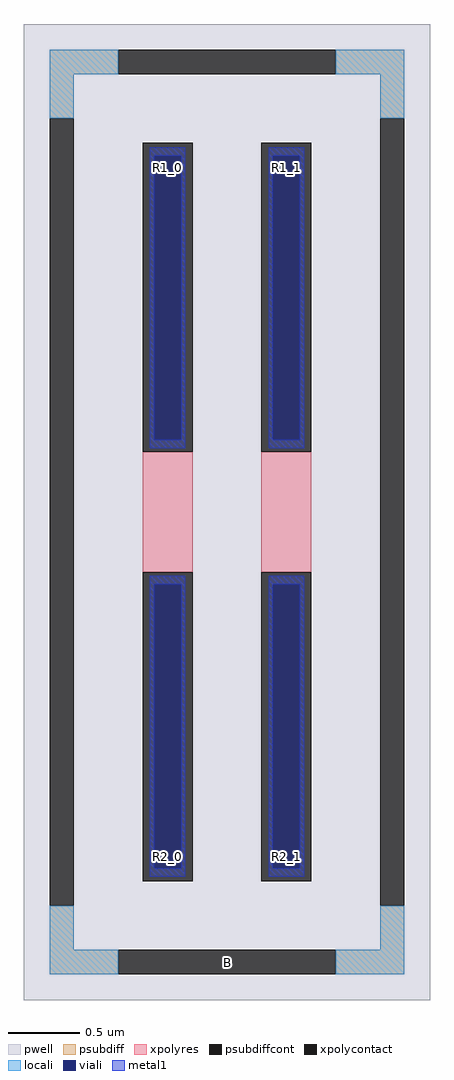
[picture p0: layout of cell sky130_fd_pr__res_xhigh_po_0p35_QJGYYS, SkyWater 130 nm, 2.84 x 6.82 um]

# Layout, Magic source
magic
tech sky130A
magscale 1 2
<< pwell >>
rect -284 -682 284 682
<< psubdiff >>
rect -248 612 -152 646
rect 152 612 248 646
rect -248 550 -214 612
rect 214 550 248 612
rect -248 -612 -214 -550
rect 214 -612 248 -550
rect -248 -646 -152 -612
rect 152 -646 248 -612
<< psubdiffcont >>
rect -152 612 152 646
rect -248 -550 -214 550
rect 214 -550 248 550
rect -152 -646 152 -612
<< xpolycontact >>
rect -118 84 -48 516
rect -118 -516 -48 -84
rect 48 84 118 516
rect 48 -516 118 -84
<< xpolyres >>
rect -118 -84 -48 84
rect 48 -84 118 84
<< locali >>
rect -248 612 -152 646
rect 152 612 248 646
rect -248 550 -214 612
rect 214 550 248 612
rect -248 -612 -214 -550
rect 214 -612 248 -550
rect -248 -646 -152 -612
rect 152 -646 248 -612
<< viali >>
rect -102 101 -64 498
rect 64 101 102 498
rect -102 -498 -64 -101
rect 64 -498 102 -101
<< metal1 >>
rect -108 498 -58 510
rect -108 101 -102 498
rect -64 101 -58 498
rect -108 89 -58 101
rect 58 498 108 510
rect 58 101 64 498
rect 102 101 108 498
rect 58 89 108 101
rect -108 -101 -58 -89
rect -108 -498 -102 -101
rect -64 -498 -58 -101
rect -108 -510 -58 -498
rect 58 -101 108 -89
rect 58 -498 64 -101
rect 102 -498 108 -101
rect 58 -510 108 -498
<< labels >>
rlabel psubdiffcont 0 -629 0 -629 0 B
port 16 nsew
rlabel xpolycontact -83 481 -83 481 0 R1_0
port 17 nsew
rlabel xpolycontact -83 -481 -83 -481 0 R2_0
port 18 nsew
rlabel xpolycontact 83 481 83 481 0 R1_1
port 19 nsew
rlabel xpolycontact 83 -481 83 -481 0 R2_1
port 20 nsew
<< properties >>
string FIXED_BBOX -231 -629 231 629
string gencell sky130_fd_pr__res_xhigh_po_0p35
string library sky130
string parameters w 0.35 l 1.0 m 1 nx 2 wmin 0.350 lmin 0.50 class resistor rho 2000 val 6.789k dummy 0 dw 0.0 term 188.2 sterm 0.0 caplen 0 wmax 0.350 guard 1 glc 1 grc 1 gtc 1 gbc 1 compatible {sky130_fd_pr__res_xhigh_po_0p35  sky130_fd_pr__res_xhigh_po_0p69 sky130_fd_pr__res_xhigh_po_1p41  sky130_fd_pr__res_xhigh_po_2p85 sky130_fd_pr__res_xhigh_po_5p73} snake 0 full_metal 1 n_guard 0 hv_guard 0 vias 1 viagb 0 viagt 0 viagl 0 viagr 0 doports 1
<< end >>
